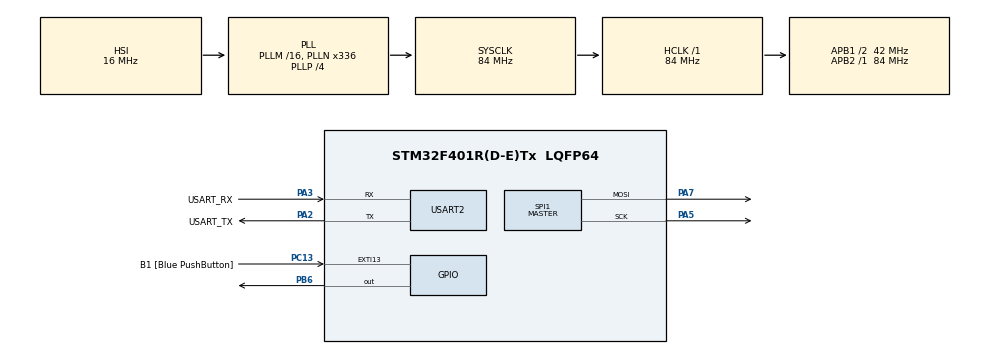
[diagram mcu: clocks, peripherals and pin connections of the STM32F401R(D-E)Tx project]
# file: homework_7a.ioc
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Mcu.Family=STM32F4
Mcu.Name=STM32F401R(D-E)Tx
Mcu.Package=LQFP64
NVIC.PriorityGroup=NVIC_PRIORITYGROUP_0
NVIC.TIM2_IRQn=true\:0\:0\:false\:false\:true\:true\:true\:true
PA13.GPIO_Label=TMS
PA13.Mode=Serial_Wire
PA13.Signal=SYS_JTMS-SWDIO
PA14.GPIO_Label=TCK
PA14.Mode=Serial_Wire
PA14.Signal=SYS_JTCK-SWCLK
PA2.GPIO_Label=USART_TX
PA2.GPIO_Mode=GPIO_MODE_AF_PP
PA2.GPIO_PuPd=GPIO_NOPULL
PA2.GPIO_Speed=GPIO_SPEED_FREQ_LOW
PA2.Mode=Asynchronous
PA2.Signal=USART2_TX
PA3.GPIO_Label=USART_RX
PA3.GPIO_Mode=GPIO_MODE_AF_PP
PA3.GPIO_PuPd=GPIO_NOPULL
PA3.GPIO_Speed=GPIO_SPEED_FREQ_LOW
PA3.Mode=Asynchronous
PA3.Signal=USART2_RX
PA5.Mode=TX_Only_Simplex_Unidirect_Master
PA5.Signal=SPI1_SCK
PA7.Mode=TX_Only_Simplex_Unidirect_Master
PA7.Signal=SPI1_MOSI
PB3.GPIO_Label=SWO
PB3.Signal=SYS_JTDO-SWO
PB6.Signal=GPIO_Output
PC13-ANTI_TAMP.GPIO_Label=B1 [Blue PushButton]
PC13-ANTI_TAMP.GPIO_ModeDefaultEXTI=GPIO_MODE_IT_FALLING
PC13-ANTI_TAMP.GPIO_PuPd=GPIO_NOPULL
PC13-ANTI_TAMP.Signal=GPXTI13
PC14-OSC32_IN.Mode=LSE-External-Oscillator
PC14-OSC32_IN.Signal=RCC_OSC32_IN
PC15-OSC32_OUT.Mode=LSE-External-Oscillator
PC15-OSC32_OUT.Signal=RCC_OSC32_OUT
PH0\ -\ OSC_IN.Mode=HSE-External-Clock-Source
PH0\ -\ OSC_IN.Signal=RCC_OSC_IN
PH1\ -\ OSC_OUT.Mode=HSE-External-Clock-Source
PH1\ -\ OSC_OUT.Signal=RCC_OSC_OUT
ProjectManager.HeapSize=0x200
ProjectManager.StackSize=0x400
ProjectManager.TargetToolchain=STM32CubeIDE
RCC.48MHZClocksFreq_Value=48000000
RCC.AHBFreq_Value=84000000
RCC.APB1CLKDivider=RCC_HCLK_DIV2
RCC.APB1Freq_Value=42000000
RCC.APB1TimFreq_Value=84000000
RCC.APB2Freq_Value=84000000
RCC.APB2TimFreq_Value=84000000
RCC.CortexFreq_Value=84000000
RCC.HCLKFreq_Value=84000000
RCC.HSE_VALUE=8000000
RCC.HSI_VALUE=16000000
RCC.PLLN=336
RCC.PLLP=RCC_PLLP_DIV4
RCC.PLLQ=7
RCC.SYSCLKFreq_VALUE=84000000
RCC.SYSCLKSource=RCC_SYSCLKSOURCE_PLLCLK
RCC.VCOOutputFreq_Value=336000000
SPI1.BaudRatePrescaler=SPI_BAUDRATEPRESCALER_4
SPI1.Direction=SPI_DIRECTION_2LINES
SPI1.Mode=SPI_MODE_MASTER
SPI1.VirtualType=VM_MASTER
TIM2.Period=9999
TIM2.Prescaler=8399
USART2.VirtualMode=VM_ASYNC
VP_TIM2_VS_ClockSourceINT.Mode=Internal
board=NUCLEO-F401RE

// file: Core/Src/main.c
/* USER CODE BEGIN Header */
/**
  ******************************************************************************
  * @file           : main.c
  * @brief          : Main program body
  ******************************************************************************
  * @attention
  *
  * Copyright (c) 2023 STMicroelectronics.
  * All rights reserved.
  *
  * This software is licensed under terms that can be found in the LICENSE file
  * in the root directory of this software component.
  * If no LICENSE file comes with this software, it is provided AS-IS.
  *
  ******************************************************************************
  */
/* USER CODE END Header */
#include "main.h"

SPI_HandleTypeDef hspi1;

TIM_HandleTypeDef htim2;

UART_HandleTypeDef huart2;

/* USER CODE BEGIN PV */
// this is the row index in the matrix, this should be transposed in reality
int column_index = 0;

uint8_t matrix[5][2]= {
		{31, 16},
		{36, 8},
		{68, 4},
		{36, 2},
		{31, 1}
		};

/* USER CODE END PV */

void SystemClock_Config(void);
static void MX_GPIO_Init(void);
static void MX_USART2_UART_Init(void);
static void MX_SPI1_Init(void);
static void MX_TIM2_Init(void);

int main(void)
{

  /* MCU Configuration--------------------------------------------------------*/

  /* Reset of all peripherals, Initializes the Flash interface and the Systick. */
  HAL_Init();

  /* Configure the system clock */
  SystemClock_Config();

  /* Initialize all configured peripherals */
  MX_GPIO_Init();
  MX_USART2_UART_Init();
  MX_SPI1_Init();
  MX_TIM2_Init();
  /* USER CODE BEGIN 2 */
  HAL_TIM_Base_Start_IT(&htim2);
  /* USER CODE END 2 */

  /* Infinite loop */
  while (1)
  {

  }
}

void SystemClock_Config(void)
{
  RCC_OscInitTypeDef RCC_OscInitStruct = {0};
  RCC_ClkInitTypeDef RCC_ClkInitStruct = {0};

  /** Configure the main internal regulator output voltage
  */
  __HAL_RCC_PWR_CLK_ENABLE();
  __HAL_PWR_VOLTAGESCALING_CONFIG(PWR_REGULATOR_VOLTAGE_SCALE2);

  /** Initializes the RCC Oscillators according to the specified parameters
  * in the RCC_OscInitTypeDef structure.
  */
  RCC_OscInitStruct.OscillatorType = RCC_OSCILLATORTYPE_HSI;
  RCC_OscInitStruct.HSIState = RCC_HSI_ON;
  RCC_OscInitStruct.HSICalibrationValue = RCC_HSICALIBRATION_DEFAULT;
  RCC_OscInitStruct.PLL.PLLState = RCC_PLL_ON;
  RCC_OscInitStruct.PLL.PLLSource = RCC_PLLSOURCE_HSI;
  RCC_OscInitStruct.PLL.PLLM = 16;
  RCC_OscInitStruct.PLL.PLLN = 336;
  RCC_OscInitStruct.PLL.PLLP = RCC_PLLP_DIV4;
  RCC_OscInitStruct.PLL.PLLQ = 7;
  if (HAL_RCC_OscConfig(&RCC_OscInitStruct) != HAL_OK)
  {
    Error_Handler();
  }

  /** Initializes the CPU, AHB and APB buses clocks
  */
  RCC_ClkInitStruct.ClockType = RCC_CLOCKTYPE_HCLK|RCC_CLOCKTYPE_SYSCLK
                              |RCC_CLOCKTYPE_PCLK1|RCC_CLOCKTYPE_PCLK2;
  RCC_ClkInitStruct.SYSCLKSource = RCC_SYSCLKSOURCE_PLLCLK;
  RCC_ClkInitStruct.AHBCLKDivider = RCC_SYSCLK_DIV1;
  RCC_ClkInitStruct.APB1CLKDivider = RCC_HCLK_DIV2;
  RCC_ClkInitStruct.APB2CLKDivider = RCC_HCLK_DIV1;

  if (HAL_RCC_ClockConfig(&RCC_ClkInitStruct, FLASH_LATENCY_2) != HAL_OK)
  {
    Error_Handler();
  }
}

static void MX_SPI1_Init(void)
{

  /* SPI1 parameter configuration*/
  hspi1.Instance = SPI1;
  hspi1.Init.Mode = SPI_MODE_MASTER;
  hspi1.Init.Direction = SPI_DIRECTION_2LINES;
  hspi1.Init.DataSize = SPI_DATASIZE_8BIT;
  hspi1.Init.CLKPolarity = SPI_POLARITY_LOW;
  hspi1.Init.CLKPhase = SPI_PHASE_1EDGE;
  hspi1.Init.NSS = SPI_NSS_SOFT;
  hspi1.Init.BaudRatePrescaler = SPI_BAUDRATEPRESCALER_4;
  hspi1.Init.FirstBit = SPI_FIRSTBIT_MSB;
  hspi1.Init.TIMode = SPI_TIMODE_DISABLE;
  hspi1.Init.CRCCalculation = SPI_CRCCALCULATION_DISABLE;
  hspi1.Init.CRCPolynomial = 10;
  if (HAL_SPI_Init(&hspi1) != HAL_OK)
  {
    Error_Handler();
  }

}

static void MX_TIM2_Init(void)
{

  TIM_ClockConfigTypeDef sClockSourceConfig = {0};
  TIM_MasterConfigTypeDef sMasterConfig = {0};

  htim2.Instance = TIM2;
  htim2.Init.Prescaler = 8399;
  htim2.Init.CounterMode = TIM_COUNTERMODE_UP;
  htim2.Init.Period = 9999;
  htim2.Init.ClockDivision = TIM_CLOCKDIVISION_DIV1;
  htim2.Init.AutoReloadPreload = TIM_AUTORELOAD_PRELOAD_DISABLE;
  if (HAL_TIM_Base_Init(&htim2) != HAL_OK)
  {
    Error_Handler();
  }
  sClockSourceConfig.ClockSource = TIM_CLOCKSOURCE_INTERNAL;
  if (HAL_TIM_ConfigClockSource(&htim2, &sClockSourceConfig) != HAL_OK)
  {
    Error_Handler();
  }
  sMasterConfig.MasterOutputTrigger = TIM_TRGO_RESET;
  sMasterConfig.MasterSlaveMode = TIM_MASTERSLAVEMODE_DISABLE;
  if (HAL_TIMEx_MasterConfigSynchronization(&htim2, &sMasterConfig) != HAL_OK)
  {
    Error_Handler();
  }

}

static void MX_USART2_UART_Init(void)
{

  huart2.Instance = USART2;
  huart2.Init.BaudRate = 115200;
  huart2.Init.WordLength = UART_WORDLENGTH_8B;
  huart2.Init.StopBits = UART_STOPBITS_1;
  huart2.Init.Parity = UART_PARITY_NONE;
  huart2.Init.Mode = UART_MODE_TX_RX;
  huart2.Init.HwFlowCtl = UART_HWCONTROL_NONE;
  huart2.Init.OverSampling = UART_OVERSAMPLING_16;
  if (HAL_UART_Init(&huart2) != HAL_OK)
  {
    Error_Handler();
  }

}

static void MX_GPIO_Init(void)
{
  GPIO_InitTypeDef GPIO_InitStruct = {0};

  /* GPIO Ports Clock Enable */
  __HAL_RCC_GPIOC_CLK_ENABLE();
  __HAL_RCC_GPIOH_CLK_ENABLE();
  __HAL_RCC_GPIOA_CLK_ENABLE();
  __HAL_RCC_GPIOB_CLK_ENABLE();

  /*Configure GPIO pin Output Level */
  HAL_GPIO_WritePin(GPIOB, GPIO_PIN_6, GPIO_PIN_RESET);

  /*Configure GPIO pin : B1_Pin */
  GPIO_InitStruct.Pin = B1_Pin;
  GPIO_InitStruct.Mode = GPIO_MODE_IT_FALLING;
  GPIO_InitStruct.Pull = GPIO_NOPULL;
  HAL_GPIO_Init(B1_GPIO_Port, &GPIO_InitStruct);

  /*Configure GPIO pin : PB6 */
  GPIO_InitStruct.Pin = GPIO_PIN_6;
  GPIO_InitStruct.Mode = GPIO_MODE_OUTPUT_PP;
  GPIO_InitStruct.Pull = GPIO_NOPULL;
  GPIO_InitStruct.Speed = GPIO_SPEED_FREQ_LOW;
  HAL_GPIO_Init(GPIOB, &GPIO_InitStruct);

}

/* USER CODE BEGIN 4 */
void HAL_TIM_PeriodElapsedCallback(TIM_HandleTypeDef *htim){
	if (htim == &htim2){
		HAL_SPI_Transmit(&hspi1, matrix[column_index], 2, 10);
		HAL_GPIO_WritePin(GPIOB, GPIO_PIN_6, GPIO_PIN_SET);
		if (++column_index > 4)
			column_index = 0;
		HAL_GPIO_WritePin(GPIOB, GPIO_PIN_6, GPIO_PIN_RESET);
	}
}
/* USER CODE END 4 */

void Error_Handler(void)
{
  __disable_irq();
  while (1)
  {
  }
}
